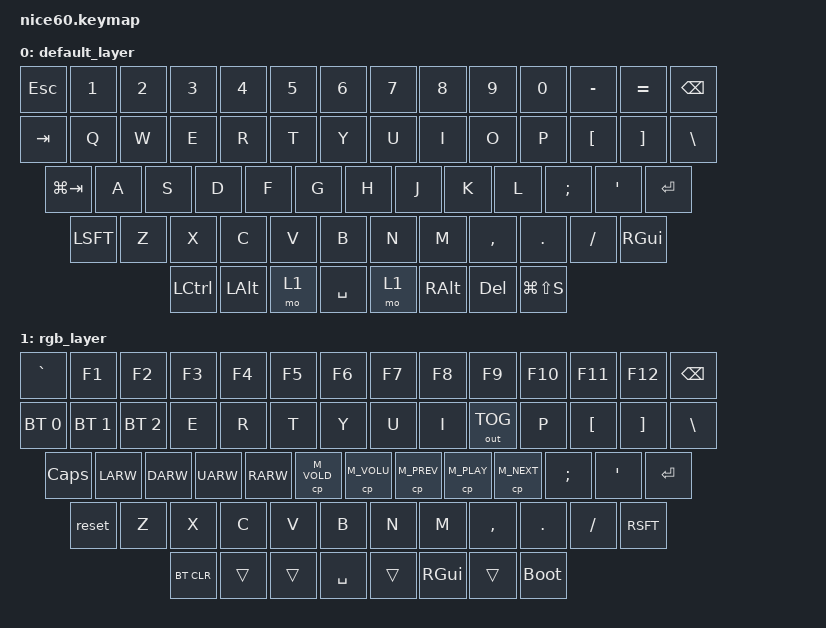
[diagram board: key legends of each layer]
#include <behaviors.dtsi>
#include <dt-bindings/zmk/keys.h>
#include <dt-bindings/zmk/rgb.h>
#include <dt-bindings/zmk/bt.h>
#include <dt-bindings/zmk/outputs.h>
#include <dt-bindings/zmk/ext_power.h>


/ {
	keymap {
		compatible = "zmk,keymap";
		
		default_layer {
// ------------------------------------------------------------------------------------------
// | ESC |  1  |  2  |  3  |  4  |  5  |  6  |  7  |  8  |  9  |  0  |  -  |  =  |   BKSP   |
// | TAB  |  Q  |  W  |  E  |  R  |  T  |  Y  |  U  |  I  |  O  |  P  |  [  |  ]  |   "|"   |
// | CAPS  |  A  |  S  |  D  |  F  |  G  |  H  |  J  |  K  |  L  |  ;  |  '  |     ENTER    |
// |  SHIFT  |  Z  |  X  |  C  |  V  |  B  |  N  |  M  |  ,  |  .  |  /  |      SHIFT       |
// |  CTL  |  WIN  |  ALT  |            SPACE              |  ALT  |  WIN  |  MO(1) |  CTL  |
// ------------------------------------------------------------------------------------------
			bindings = <
	&kp ESC &kp NUM_1 &kp NUM_2 &kp NUM_3 &kp NUM_4 &kp NUM_5 &kp NUM_6 &kp NUM_7 &kp NUM_8 &kp NUM_9 &kp NUM_0 &kp MINUS &kp EQL  &kp BKSP
	&kp TAB  &kp   Q   &kp   W   &kp   E   &kp   R   &kp   T   &kp   Y   &kp   U   &kp   I   &kp   O   &kp   P   &kp LBKT &kp RBKT &kp BSLH
	&kp LG(TAB)  &kp   A   &kp   S   &kp   D   &kp   F   &kp   G   &kp   H   &kp   J   &kp   K   &kp   L   &kp  SCLN  &kp  QUOT        &kp RET
	&kp LSFT   &kp   Z   &kp   X   &kp   C   &kp   V   &kp   B   &kp   N   &kp   M   &kp   CMMA   &kp   DOT   &kp   FSLH           &kp RGUI
	&kp LCTL &kp   LALT   &mo 1                     &kp SPC                         &mo 1    &kp  RALT    &kp DEL      &kp   LG(LS(S))
			>;
		};

		rgb_layer {
// ------------------------------------------------------------------------------------------
// | ESC |  1  |  2  |  3  |  4  |  5  |  6  |  7  |  8  |  9  |  0  |  -  |  =  |   BKSP   |
// | TAB  |  Q  |  W  |  E  |  R  |  T  |  Y  |  U  |  I  |  O  |  P  |  [  |  ]  |   "|"   |
// | CAPS  |  A  |  S  |  D  |  F  |  G  |  H  |  J  |  K  |  L  |  ;  |  '  |     ENTER    |
// |  SHIFT  |  Z  |  X  |  C  |  V  |  B  |  N  |  M  |  ,  |  .  |  /  |      SHIFT       |
// |  CTL  |  WIN  |  ALT  |            SPACE              |  ALT  |  WIN  |  MENU  |  CTL  |
// ------------------------------------------------------------------------------------------
			bindings = <
	&kp GRAV &kp F1 &kp F2 &kp F3 &kp F4 &kp F5 &kp F6 &kp F7 &kp F8 &kp F9 &kp F10 &kp F11 &kp F12  &kp BKSP
	&bt BT_SEL 0  &bt   BT_SEL 1   &bt BT_SEL 2  &kp   E   &kp R &kp T &kp Y &kp U &kp   I   &out OUT_TOG   &kp   P   &kp LBKT &kp RBKT &kp BSLH 
	&kp  CLCK &kp LARW  &kp DARW  &kp UARW &kp RARW &cp M_VOLD &cp M_VOLU &cp M_PREV &cp M_PLAY   &cp M_NEXT  &kp  SCLN  &kp QUOT &kp RET
	&reset   &kp   Z   &kp   X   &kp   C   &kp   V   &kp   B   &kp   N   &kp   M   &kp   CMMA   &kp   DOT   &kp   FSLH           &kp RSFT
	&bt BT_CLR &trans   &trans                  &kp SPC                  &trans    &kp   RGUI     &trans     &bootloader
			>;
		};
	};
};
